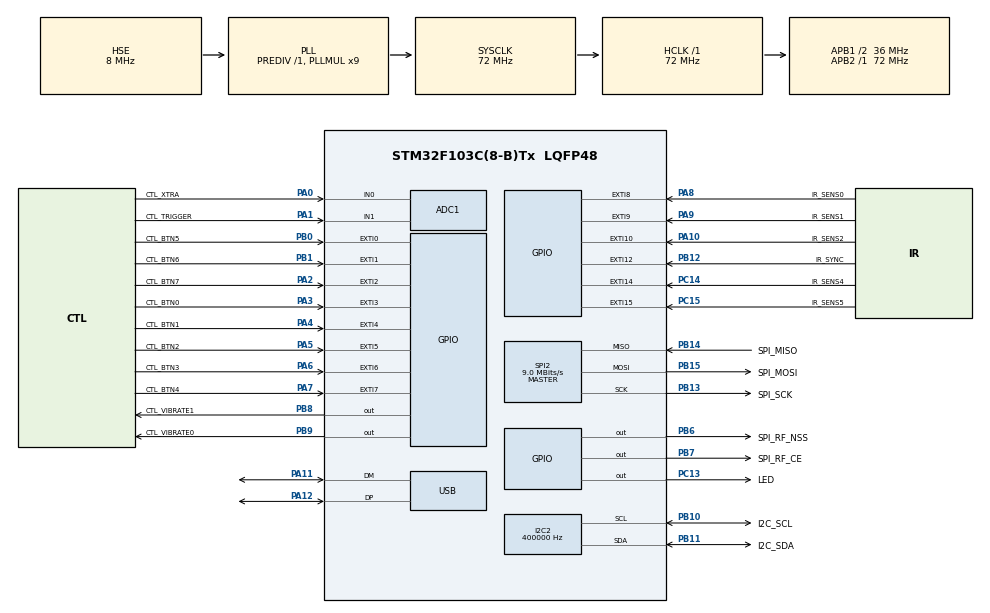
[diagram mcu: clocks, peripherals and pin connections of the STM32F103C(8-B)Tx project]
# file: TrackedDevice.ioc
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ADC1.Channel-11\#ChannelRegularConversion=ADC_CHANNEL_0
ADC1.Channel-12\#ChannelRegularConversion=ADC_CHANNEL_1
ADC1.ContinuousConvMode=ENABLE
ADC1.DataAlign=ADC_DATAALIGN_RIGHT
ADC1.DiscontinuousConvMode=DISABLE
ADC1.EnableAnalogWatchDog=false
ADC1.EnableRegularConversion=ENABLE
ADC1.ExternalTrigConv=ADC_EXTERNALTRIGCONV_T1_CC1
ADC1.InjNumberOfConversion=0
ADC1.NbrOfConversion=2
ADC1.NbrOfConversionFlag=1
ADC1.Rank-11\#ChannelRegularConversion=1
ADC1.Rank-12\#ChannelRegularConversion=2
ADC1.SamplingTime-11\#ChannelRegularConversion=ADC_SAMPLETIME_71CYCLES_5
ADC1.SamplingTime-12\#ChannelRegularConversion=ADC_SAMPLETIME_71CYCLES_5
ADC1.ScanConvMode=ADC_SCAN_ENABLE
ADC1.master=1
Dma.ADC1.0.Direction=DMA_PERIPH_TO_MEMORY
Dma.ADC1.0.Instance=DMA1_Channel1
Dma.ADC1.0.MemDataAlignment=DMA_MDATAALIGN_WORD
Dma.ADC1.0.MemInc=DMA_MINC_ENABLE
Dma.ADC1.0.Mode=DMA_CIRCULAR
Dma.ADC1.0.PeriphDataAlignment=DMA_PDATAALIGN_WORD
Dma.ADC1.0.PeriphInc=DMA_PINC_DISABLE
Dma.ADC1.0.Priority=DMA_PRIORITY_LOW
Dma.Request0=ADC1
I2C2.ClockSpeed=400000
I2C2.GeneralCallMode=I2C_GENERALCALL_DISABLE
I2C2.I2C_Mode=I2C_Fast
I2C2.NoStretchMode=I2C_NOSTRETCH_DISABLE
Mcu.Family=STM32F1
Mcu.Name=STM32F103C(8-B)Tx
Mcu.Package=LQFP48
NVIC.DMA1_Channel1_IRQn=true\:0\:0\:false\:false\:true
NVIC.EXTI0_IRQn=true\:0\:0\:false\:false\:true
NVIC.EXTI15_10_IRQn=true\:0\:0\:false\:false\:true
NVIC.EXTI1_IRQn=true\:0\:0\:false\:false\:true
NVIC.EXTI2_IRQn=true\:0\:0\:false\:false\:true
NVIC.EXTI3_IRQn=true\:0\:0\:false\:false\:true
NVIC.EXTI4_IRQn=true\:0\:0\:false\:false\:true
NVIC.EXTI9_5_IRQn=true\:0\:0\:true\:false\:true
NVIC.PriorityGroup=NVIC_PRIORITYGROUP_4
NVIC.USB_LP_CAN1_RX0_IRQn=true\:0\:0\:false\:false\:true
PA0-WKUP.GPIO_Label=CTL_XTRA
PA0-WKUP.Signal=ADCx_IN0
PA1.GPIO_Label=CTL_TRIGGER
PA1.Signal=ADCx_IN1
PA10.GPIO_Label=IR_SENS2
PA10.GPIO_ModeDefaultEXTI=GPIO_MODE_IT_RISING_FALLING
PA10.GPIO_PuPd=GPIO_PULLUP
PA10.Signal=GPXTI10
PA11.Mode=Device
PA11.Signal=USB_DM
PA12.Mode=Device
PA12.Signal=USB_DP
PA2.GPIO_Label=CTL_BTN7
PA2.GPIO_ModeDefaultEXTI=GPIO_MODE_IT_RISING_FALLING
PA2.GPIO_PuPd=GPIO_PULLDOWN
PA2.Signal=GPXTI2
PA3.GPIO_Label=CTL_BTN0
PA3.GPIO_ModeDefaultEXTI=GPIO_MODE_IT_RISING_FALLING
PA3.GPIO_PuPd=GPIO_PULLDOWN
PA3.Signal=GPXTI3
PA4.GPIO_Label=CTL_BTN1
PA4.GPIO_ModeDefaultEXTI=GPIO_MODE_IT_RISING_FALLING
PA4.GPIO_PuPd=GPIO_PULLDOWN
PA4.Signal=GPXTI4
PA5.GPIO_Label=CTL_BTN2
PA5.GPIO_ModeDefaultEXTI=GPIO_MODE_IT_RISING_FALLING
PA5.GPIO_PuPd=GPIO_PULLDOWN
PA5.Signal=GPXTI5
PA6.GPIO_Label=CTL_BTN3
PA6.GPIO_ModeDefaultEXTI=GPIO_MODE_IT_RISING_FALLING
PA6.GPIO_PuPd=GPIO_PULLDOWN
PA6.Signal=GPXTI6
PA7.GPIO_Label=CTL_BTN4
PA7.GPIO_ModeDefaultEXTI=GPIO_MODE_IT_RISING_FALLING
PA7.GPIO_PuPd=GPIO_PULLDOWN
PA7.Signal=GPXTI7
PA8.GPIO_Label=IR_SENS0
PA8.GPIO_ModeDefaultEXTI=GPIO_MODE_IT_RISING_FALLING
PA8.GPIO_PuPd=GPIO_PULLUP
PA8.Signal=GPXTI8
PA9.GPIO_Label=IR_SENS1
PA9.GPIO_ModeDefaultEXTI=GPIO_MODE_IT_RISING_FALLING
PA9.GPIO_PuPd=GPIO_PULLUP
PA9.Signal=GPXTI9
PB0.GPIO_Label=CTL_BTN5
PB0.GPIO_ModeDefaultEXTI=GPIO_MODE_IT_RISING_FALLING
PB0.GPIO_PuPd=GPIO_PULLDOWN
PB0.Signal=GPXTI0
PB1.GPIO_Label=CTL_BTN6
PB1.GPIO_ModeDefaultEXTI=GPIO_MODE_IT_RISING_FALLING
PB1.GPIO_PuPd=GPIO_PULLDOWN
PB1.Signal=GPXTI1
PB10.GPIO_Label=I2C_SCL
PB10.GPIO_Mode=GPIO_MODE_AF_OD
PB10.GPIO_Speed=GPIO_SPEED_FREQ_LOW
PB10.Mode=I2C
PB10.Signal=I2C2_SCL
PB11.GPIO_Label=I2C_SDA
PB11.GPIO_Speed=GPIO_SPEED_FREQ_LOW
PB11.Mode=I2C
PB11.Signal=I2C2_SDA
PB12.GPIO_Label=IR_SYNC
PB12.GPIO_ModeDefaultEXTI=GPIO_MODE_IT_RISING_FALLING
PB12.GPIO_PuPd=GPIO_PULLUP
PB12.Signal=GPXTI12
PB13.GPIO_Label=SPI_SCK
PB13.GPIO_Speed=GPIO_SPEED_FREQ_LOW
PB13.Mode=Full_Duplex_Master
PB13.Signal=SPI2_SCK
PB14.GPIO_Label=SPI_MISO
PB14.Mode=Full_Duplex_Master
PB14.Signal=SPI2_MISO
PB15.GPIO_Label=SPI_MOSI
PB15.GPIO_Speed=GPIO_SPEED_FREQ_LOW
PB15.Mode=Full_Duplex_Master
PB15.Signal=SPI2_MOSI
PB6.GPIO_Label=SPI_RF_NSS
PB6.GPIO_ModeDefaultOutputPP=GPIO_MODE_OUTPUT_PP
PB6.GPIO_Speed=GPIO_SPEED_FREQ_LOW
PB6.PinState=GPIO_PIN_SET
PB6.Signal=GPIO_Output
PB7.GPIO_Label=SPI_RF_CE
PB7.GPIO_Speed=GPIO_SPEED_FREQ_LOW
PB7.PinState=GPIO_PIN_SET
PB7.Signal=GPIO_Output
PB8.GPIO_Label=CTL_VIBRATE1
PB8.Signal=GPIO_Output
PB9.GPIO_Label=CTL_VIBRATE0
PB9.Signal=GPIO_Output
PC13-TAMPER-RTC.GPIO_Label=LED
PC13-TAMPER-RTC.GPIO_ModeDefaultOutputPP=GPIO_MODE_OUTPUT_OD
PC13-TAMPER-RTC.GPIO_Speed=GPIO_SPEED_FREQ_LOW
PC13-TAMPER-RTC.PinState=GPIO_PIN_RESET
PC13-TAMPER-RTC.Signal=GPIO_Output
PC14-OSC32_IN.GPIO_Label=IR_SENS4
PC14-OSC32_IN.GPIO_ModeDefaultEXTI=GPIO_MODE_IT_RISING_FALLING
PC14-OSC32_IN.GPIO_PuPd=GPIO_PULLUP
PC14-OSC32_IN.Signal=GPXTI14
PC15-OSC32_OUT.GPIO_Label=IR_SENS5
PC15-OSC32_OUT.GPIO_ModeDefaultEXTI=GPIO_MODE_IT_RISING_FALLING
PC15-OSC32_OUT.GPIO_PuPd=GPIO_PULLUP
PC15-OSC32_OUT.Signal=GPXTI15
PD0-OSC_IN.Mode=HSE-External-Oscillator
PD0-OSC_IN.Signal=RCC_OSC_IN
PD1-OSC_OUT.Mode=HSE-External-Oscillator
PD1-OSC_OUT.Signal=RCC_OSC_OUT
ProjectManager.HeapSize=0x200
ProjectManager.StackSize=0x400
ProjectManager.TargetToolchain=MDK-ARM V5
RCC.ADCPresc=RCC_ADCPCLK2_DIV6
RCC.AHBFreq_Value=72000000
RCC.APB1CLKDivider=RCC_HCLK_DIV2
RCC.APB1Freq_Value=36000000
RCC.APB1TimFreq_Value=72000000
RCC.APB2Freq_Value=72000000
RCC.APB2TimFreq_Value=72000000
RCC.HCLKFreq_Value=72000000
RCC.PLLMUL=RCC_PLL_MUL9
RCC.PLLSourceVirtual=RCC_PLLSOURCE_HSE
RCC.PREFETCH_ENABLE=1
RCC.SYSCLKFreq_VALUE=72000000
RCC.SYSCLKSource=RCC_SYSCLKSOURCE_PLLCLK
RCC.USBFreq_Value=48000000
RCC.USBPrescaler=RCC_USBCLKSOURCE_PLL_DIV1_5
RCC.VDD_VALUE=3.3
SH.ADCx_IN0.0=ADC1_IN0,IN0
SH.ADCx_IN1.0=ADC1_IN1,IN1
SPI2.BaudRatePrescaler=SPI_BAUDRATEPRESCALER_4
SPI2.CalculateBaudRate=9.0 MBits/s
SPI2.Direction=SPI_DIRECTION_2LINES
SPI2.Mode=SPI_MODE_MASTER
SPI2.VirtualType=VM_MASTER
USB.ep0_mps=DEP0CTL_MPS_32
USB_DEVICE.CLASS_NAME_FS=CUSTOMHID
USB_DEVICE.CONFIGURATION_STRING_CUSTOMHID_FS=Custom HMD HID Config
USB_DEVICE.INTERFACE_STRING_CUSTOMHID_FS=Custom HMD HID Interface
USB_DEVICE.MANUFACTURER_STRING-CUSTOM_HID_FS=Coltu
USB_DEVICE.PID_CUSTOMHID_FS=0x0001
USB_DEVICE.PRODUCT_STRING_CUSTOMHID_FS=Custom HMD
USB_DEVICE.SERIALNUMBER_STRING_CUSTOMHID_FS=20170125-B
USB_DEVICE.USBD_CUSTOMHID_OUTREPORT_BUF_SIZE-CUSTOM_HID_FS=32
USB_DEVICE.USBD_CUSTOM_HID_REPORT_DESC_SIZE-CUSTOM_HID_FS=34
USB_DEVICE.VID-CUSTOM_HID_FS=0x1974
USB_DEVICE.VirtualMode=CustomHid
USB_DEVICE.VirtualModeFS=Custom_Hid_FS
VP_SYS_VS_ND.Mode=No_Debug
VP_USB_DEVICE_VS_USB_DEVICE_CUSTOM_HID_FS.Mode=CUSTOM_HID_FS
board=TrackedDevice

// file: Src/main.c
/**
  ******************************************************************************
  * File Name          : main.c
  * Description        : Main program body
  ******************************************************************************
  *
  * Copyright (c) 2017 STMicroelectronics International N.V.
  * All rights reserved.
  *
  * Redistribution and use in source and binary forms, with or without
  * modification, are permitted, provided that the following conditions are met:
  *
  * 1. Redistribution of source code must retain the above copyright notice,
  *    this list of conditions and the following disclaimer.
  * 2. Redistributions in binary form must reproduce the above copyright notice,
  *    this list of conditions and the following disclaimer in the documentation
  *    and/or other materials provided with the distribution.
  * 3. Neither the name of STMicroelectronics nor the names of other
  *    contributors to this software may be used to endorse or promote products
  *    derived from this software without specific written permission.
  * 4. This software, including modifications and/or derivative works of this
  *    software, must execute solely and exclusively on microcontroller or
  *    microprocessor devices manufactured by or for STMicroelectronics.
  * 5. Redistribution and use of this software other than as permitted under
  *    this license is void and will automatically terminate your rights under
  *    this license.
  *
  * THIS SOFTWARE IS PROVIDED BY STMICROELECTRONICS AND CONTRIBUTORS "AS IS"
  * AND ANY EXPRESS, IMPLIED OR STATUTORY WARRANTIES, INCLUDING, BUT NOT
  * LIMITED TO, THE IMPLIED WARRANTIES OF MERCHANTABILITY, FITNESS FOR A
  * PARTICULAR PURPOSE AND NON-INFRINGEMENT OF THIRD PARTY INTELLECTUAL PROPERTY
  * RIGHTS ARE DISCLAIMED TO THE FULLEST EXTENT PERMITTED BY LAW. IN NO EVENT
  * SHALL STMICROELECTRONICS OR CONTRIBUTORS BE LIABLE FOR ANY DIRECT, INDIRECT,
  * INCIDENTAL, SPECIAL, EXEMPLARY, OR CONSEQUENTIAL DAMAGES (INCLUDING, BUT NOT
  * LIMITED TO, PROCUREMENT OF SUBSTITUTE GOODS OR SERVICES; LOSS OF USE, DATA,
  * OR PROFITS; OR BUSINESS INTERRUPTION) HOWEVER CAUSED AND ON ANY THEORY OF
  * LIABILITY, WHETHER IN CONTRACT, STRICT LIABILITY, OR TORT (INCLUDING
  * NEGLIGENCE OR OTHERWISE) ARISING IN ANY WAY OUT OF THE USE OF THIS SOFTWARE,
  * EVEN IF ADVISED OF THE POSSIBILITY OF SUCH DAMAGE.
  *
  ******************************************************************************
  */
#include "main.h"
#include "stm32f1xx_hal.h"
#include "usb_device.h"

/* USER CODE BEGIN Includes */
#undef UNUSED
#define UNUSED(x) ;

#include <stdlib.h>
#include <string.h> //for memcpy and memcmp

#include "..\\..\\Common\\led.h"
#include "..\\..\\Common\\SensorFusion.h"
#include "..\\..\\Common\\gy8x.h"
#include "..\\..\\Common\\nrf24l01.h"
#include "usbd_custom_hid_if.h"
#include "..\\..\\Common\\usb.h"
#include "..\\..\\Common\\eeprom_flash.h"

#if CUSTOM_HID_EPOUT_SIZE != 32
#error HID out packet size not 32
//#end
#elif CUSTOM_HID_EPIN_SIZE != 32
#error HID packet in size not 32
//#end
#elif USB_CUSTOM_HID_DESC_SIZ != 34
#error HID packet size not 34
//#end
#endif

#define THIS_DEVICE (HMD_SOURCE)
//#define THIS_DEVICE LEFTCTL_SOURCE
//#define THIS_DEVICE RIGHTCTL_SOURCE
#define IS_CONTROLLER (THIS_DEVICE == LEFTCTL_SOURCE || THIS_DEVICE == RIGHTCTL_SOURCE)
#define IS_HMD (THIS_DEVICE == HMD_SOURCE)
/* USER CODE END Includes */

ADC_HandleTypeDef hadc1;
DMA_HandleTypeDef hdma_adc1;

I2C_HandleTypeDef hi2c2;

SPI_HandleTypeDef hspi2;

/* USER CODE BEGIN PV */
/* Private variables ---------------------------------------------------------*/

enum RawModes
{
	RawMode_Off = 0,
	RawMode_Raw = 1,
	RawMode_Filtered = 2,
	RawMode_Compensated = 3,
	RawMode_DRVectors = 4
};

#if IS_HMD
struct CommChannel
{
	uint8_t remainingTransmits;
	uint32_t lastReceive;
	uint32_t nextTransmit;
	uint16_t lastInSequence;
	uint16_t lastOutSequence;
	USBPacket lastCommand;
};

struct CommChannel Channels[MAX_SOURCE] = { 0 };
uint16_t ChannelStateFlags = 0;
#endif //IS_HMD

SensorData tSensorData;
int32_t blinkDelay = 1000;
extern uint8_t USB_RX_Buffer[CUSTOM_HID_EPIN_SIZE];
extern USBD_HandleTypeDef hUsbDeviceFS;
USBPacket *pFromUSBPacket = (USBPacket *)USB_RX_Buffer;
USBPacket FromDevicePacket = { 0 };
USBPacket FromRFPacket = { 0 };
USBPositionData position = { 0 };

uint8_t rfStatus = 0;
bool sensorStatus = false;
RawModes feedRawMode = RawMode_Off;
uint8_t readyToSend = 0;
uint8_t readyToReceive = 0;
Quaternion orientQuat;
Quaternion gravQuat;
Quaternion positionQuat;
//Quaternion gravQuat(0, 0, 0, 1);
//RF_ReceiveMode(&hspi2, NULL); //default to receive mode
uint32_t lastCommandSequence = 0;

#if IS_CONTROLLER
uint32_t vibrationStopTime0 = 0;
uint32_t vibrationStopTime1 = 0;
uint32_t LastADCChange = 0;
uint32_t ADC_Values[4] = { 0 };
float ADC_Value[2] = { 0 };
uint32_t ADC_Cache[2] = { 0 };
#endif //_IS_CONTROLLER

uint64_t lastButtonRefresh = 0;
volatile uint32_t LastDigitalChange = 0;
uint16_t DigitalValues = 0;
uint16_t DigitalCache = 0;

#ifdef IS_HMD
int32_t KnobState = 0;
int32_t KnobCount = 0;
uint64_t LastKnobChange = 0;
#endif //IS_HMD

//float AccelVector[3] = {0};
float GravityVector[3] = { 0 };
float CompAccelVector[3] = { 0 };
float VelocityVector[3] = { 0 };
//float ComplimentaryAccelVector[3] = {0};
//float ComplimentaryVelocityVector[3] = {0};

uint64_t lastRotationUpdate = 0;
volatile uint64_t now = 0;
uint32_t ticks = 0;
uint32_t nextSend = 0;

uint32_t sndCounter = 0;
uint32_t rcvCounter = 0;

EepromData eepromData = { 0 };
bool isCalibrated = false;
bool isPositionReady = false;

int extraDelay = 2
#if IS_CONTROLLER
+ 8
#endif //IS_CONTROLLER
;

//processmask flags
#define READY_ROT 0x01
#define READY_BUT 0x02
#define READY_POS 0x04
#define READY_RAW 0x08
#define READY_CAL 0x10
#define READY_IPD 0x20

uint8_t ReadyMask = 0;
uint8_t ProcessMask = 0;

uint32_t LastUsbTransmit = 0;

bool hasRotationData = false;
bool hasPositionData = false;
uint8_t buttonRetransmit = 0;

//KalmanSingle AccelFilter[3] = {
//KalmanSingle(0.125,32,1,0),
//KalmanSingle(0.125,32,1,0),
//KalmanSingle(0.125,32,1,0)
//};

uint8_t SensorCalibRequest = 0xFF;
uint32_t eepromSaveTime = 0;

uint32_t buttonRefreshTimeout = 1000;
CSensorFusion orientFuse(0.2f);
CSensorFusion gravFuse(1.0f);

#ifdef __cplusplus
extern "C" {
#endif
/* USER CODE END PV */

void SystemClock_Config(void);
void Error_Handler(void);
static void MX_GPIO_Init(void);
static void MX_DMA_Init(void);
static void MX_I2C2_Init(void);
static void MX_SPI2_Init(void);

/* USER CODE BEGIN PFP */
		/* Private function prototypes -----------------------------------------------*/

#ifdef __cplusplus
}
#endif

static void MX_ADC1_Init(void);

RF_InitTypeDef RF_InitStruct = { 0 };
unsigned char NRF24L01_Init(void)
{
	RF_InitStruct.RF_Power_State = RF_Power_On;
	RF_InitStruct.RF_Config = RF_Config_IRQ_RX_Off | RF_Config_IRQ_TX_Off | RF_Confing_IRQ_Max_Rt_Off;
	RF_InitStruct.RF_CRC_Mode = RF_CRC8_On;
	RF_InitStruct.RF_Mode = RF_Mode_RX;
	RF_InitStruct.RF_Pipe_Auto_Ack = 0;
	RF_InitStruct.RF_Enable_Pipe = 1;
	RF_InitStruct.RF_Setup = RF_Setup_5_Byte_Adress;
	RF_InitStruct.RF_TX_Power = RF_TX_Power_High;
	RF_InitStruct.RF_Data_Rate = RF_Data_Rate_2Mbs;
	RF_InitStruct.RF_Channel = 250;

#if IS_HMD
	RF_InitStruct.RF_TX_Adress[0] = 'C';
	RF_InitStruct.RF_TX_Adress[1] = 'T';
	RF_InitStruct.RF_TX_Adress[2] = 'R';
	RF_InitStruct.RF_TX_Adress[3] = 'L';
	RF_InitStruct.RF_TX_Adress[4] = '0';
	RF_InitStruct.RF_RX_Adress_Pipe0[0] = 'B';
	RF_InitStruct.RF_RX_Adress_Pipe0[1] = 'A';
	RF_InitStruct.RF_RX_Adress_Pipe0[2] = 'S';
	RF_InitStruct.RF_RX_Adress_Pipe0[3] = 'E';
	RF_InitStruct.RF_RX_Adress_Pipe0[4] = '1'; //HMD
#endif //IS_HMD

#if IS_CONTROLLER
	RF_InitStruct.RF_TX_Adress[0] = 'B';
	RF_InitStruct.RF_TX_Adress[1] = 'A';
	RF_InitStruct.RF_TX_Adress[2] = 'S';
	RF_InitStruct.RF_TX_Adress[3] = 'E';
	RF_InitStruct.RF_TX_Adress[4] = '1';
	RF_InitStruct.RF_RX_Adress_Pipe0[0] = 'C';
	RF_InitStruct.RF_RX_Adress_Pipe0[1] = 'T';
	RF_InitStruct.RF_RX_Adress_Pipe0[2] = 'R';
	RF_InitStruct.RF_RX_Adress_Pipe0[3] = 'L';
	RF_InitStruct.RF_RX_Adress_Pipe0[4] = '0';
#endif //IS_CONTROLLER

	RF_InitStruct.RF_Payload_Size_Pipe0 = 32;
	RF_InitStruct.RF_Auto_Retransmit_Count = 0;
	RF_InitStruct.RF_Auto_Retransmit_Delay = 0;
	return RF_Init(&hspi2, &RF_InitStruct);
}
/* USER CODE END PFP */

/* USER CODE BEGIN 0 */

uint64_t HAL_GetMicros()
{
	uint64_t ticks = HAL_GetTick();
	uint64_t systick = (uint64_t)SysTick->VAL;
	return (ticks * 1000ull) + 1000ull - (systick / 72ul);
}

void HAL_MicroDelay(uint64_t delay)
{
	uint64_t tickstart = 0;
	tickstart = HAL_GetMicros();
	while ((HAL_GetMicros() - tickstart) < delay) {}
}

inline uint8_t sgn(float n)
{
	return (n < 0 ? -1 : 1);
}

void HAL_GPIO_EXTI_Callback(uint16_t GPIO_Pin)
{
	switch (GPIO_Pin)
	{
	case IR_SENS0_Pin:
		break;
	case IR_SENS1_Pin:
		break;
	case IR_SENS2_Pin:
		break;
		//case IR_SENS3_Pin: temporarily disabled for SWJ-IO
		//	break;
	case IR_SENS4_Pin:
		break;
	case IR_SENS5_Pin:
		break;
#if IS_HMD
		//first 3 pins are for IPD rotary knob if device is HMD
	case CTL_BTN0_Pin: //re-center seated pos
		LastDigitalChange = HAL_GetTick();
		break;
	case CTL_BTN1_Pin: // IPD up
	case CTL_BTN2_Pin: // IPD down
	{
		//read both pins
		LastKnobChange = HAL_GetTick();
		KnobCount++;
		break;
	}
#endif //IS_HMD

#if IS_CONTROLLER
	case CTL_BTN0_Pin:
	case CTL_BTN1_Pin:
	case CTL_BTN2_Pin:
	case CTL_BTN3_Pin:
	case CTL_BTN4_Pin:
	case CTL_BTN5_Pin:
	case CTL_BTN6_Pin:
	case CTL_BTN7_Pin:
		LastDigitalChange = HAL_GetTick();
		break;
#endif //IS_CONTROLLER
	}
}

/*inline*/ void ProcessOwnPacket(USBPacket *pPacket)
{
	if (lastCommandSequence != pPacket->Header.Sequence) //discard duplicates
	{
		lastCommandSequence = pPacket->Header.Sequence;
		switch (pPacket->Command.Command)
		{
		case CMD_RAW_DATA:
			feedRawMode = (RawModes)pPacket->Command.Data.Raw.State;
			break;
		case CMD_VIBRATE:
#if IS_CONTROLLER
			if (pPacket->Command.Data.Vibration.Axis == 0)
			{
				vibrationStopTime0 = ticks + pPacket->Command.Data.Vibration.Duration;
				HAL_GPIO_WritePin(CTL_VIBRATE0_GPIO_Port, CTL_VIBRATE0_Pin, GPIO_PIN_SET);
			}
			else if (pPacket->Command.Data.Vibration.Axis == 1)
			{
				vibrationStopTime1 = ticks + pPacket->Command.Data.Vibration.Duration;
				HAL_GPIO_WritePin(CTL_VIBRATE1_GPIO_Port, CTL_VIBRATE1_Pin, GPIO_PIN_SET);
			}
#endif //IS_CONTROLLER
			break;
		case CMD_CALIBRATE:
			//manually set sensor offsets
			int sensorId = pPacket->Command.Data.Calibration.Sensor;
			if (pPacket->Command.Data.Calibration.Command == CALIB_GET)
			{
				SensorCalibRequest = sensorId;
			}
			else
			{
				for (int i = 0; i < 3; i++)
				{
					position.Position[i] = 0;
					VelocityVector[i] = 0;
					//AccelVector[i] = 0;
					CompAccelVector[i] = 0;
				}
				if (sensorId == SENSOR_NONE)
					break;
				else if (sensorId == SENSOR_ACCEL)
					eepromData.Accel = pPacket->Command.Data.Calibration;
				else if (sensorId == SENSOR_GYRO)
					eepromData.Gyro = pPacket->Command.Data.Calibration;
				else if (sensorId == SENSOR_MAG)
					eepromData.Mag = pPacket->Command.Data.Calibration;
				eepromSaveTime = ticks + 1000; //save after 1 second
			}
			break;
		}
	}
	pPacket->Header.Type = 0xff;
}

#if IS_CONTROLLER
/*inline*/ void ForwardRFPacket(USBPacket *pPacket)
{
	RF_SendPayload(&hspi2, (uint8_t*)pPacket, sizeof(USBPacket));
}
#endif //IS_CONTROLLER

#if IS_HMD
/*inline*/ void ForwardUSBPacket(USBPacket *pPacket)
{
	uint8_t channelIndex = pPacket->Header.Type & 0x0F;
	if (channelIndex < MAX_SOURCE)
	{
		CommChannel *pChannel = &Channels[channelIndex];
		pChannel->lastReceive = ticks;
		//if (channelIndex == HMD_SOURCE)
		//	pChannel->lastInSequence = pPacket->Header.Sequence - 1;
		if (pChannel->lastInSequence != pPacket->Header.Sequence) //skip duplicates for same channel
		{
			blinkDelay = 100;
			pChannel->lastInSequence = pPacket->Header.Sequence;
			USBD_CUSTOM_HID_SendReport_FS((uint8_t*)pPacket, (uint16_t) sizeof(USBPacket)); //forward incoming
			LastUsbTransmit = HAL_GetTick();
		}
		else
			return;
	}
}

/*inline*/ void BroadcastRFPackets()
{
	//send everything in channel buffer without checking sequence
	for (uint8_t channelIndex = 0; channelIndex < MAX_SOURCE; channelIndex++)
	{
		if (!(ChannelStateFlags & (1 << channelIndex)))
			continue; // skip if channel is empty
		CommChannel *pChannel = &Channels[channelIndex];
		if (!pChannel->remainingTransmits)
		{
			// skip if no more to transmit. unlikely to enter here
			memset(&pChannel->lastCommand, 0, sizeof(USBPacket));
			ChannelStateFlags &= ~(1 << channelIndex); //clear flags
			continue;
		}
		if (ticks - pChannel->lastReceive > 10000)
		{
			// skip if timedout. (powered off controller etc)
			memset(&pChannel->lastCommand, 0, sizeof(USBPacket));
			ChannelStateFlags &= ~(1 << channelIndex); //clear flags
			continue;
		}

		if (!readyToSend)
		{
			rfStatus = RF_FifoStatus(&hspi2);
			readyToSend = ((rfStatus & RF_TX_FIFO_EMPTY_Bit) == RF_TX_FIFO_EMPTY_Bit); //if empty
		}
		if (readyToSend && (pChannel->remainingTransmits > 0) && (ticks > pChannel->nextTransmit))
		{
			readyToSend = false;
			pChannel->nextTransmit = HAL_GetTick() + (rand() % 10); //max 10 ms for retransmit
			//switch to tx mode and send command to device
			RF_TransmitMode(&hspi2, RF_InitStruct.RF_TX_Adress);
			RF_SendPayload(&hspi2, (uint8_t *)&pChannel->lastCommand, sizeof(USBPacket));
			do { rfStatus = RF_FifoStatus(&hspi2); } while ((rfStatus & RF_TX_FIFO_EMPTY_Bit) != RF_TX_FIFO_EMPTY_Bit); //wait for send complete
			pChannel->remainingTransmits--;
			if (!pChannel->remainingTransmits)
			{
				memset(&pChannel->lastCommand, 0, sizeof(USBPacket));
				ChannelStateFlags &= ~(1 << channelIndex); //clear flags
			}
			RF_ReceiveMode(&hspi2, RF_InitStruct.RF_RX_Adress_Pipe0);
			break; //send single packet only
		}
	}
}
#endif //IS_HMD

/*inline*/ void ForwardPacket(USBPacket *pPacket)
{
#if IS_HMD
	ForwardUSBPacket(pPacket);
#endif //IS_HMD
#if IS_CONTROLLER
	ForwardRFPacket(pPacket);
#endif //IS_CONTROLLER
}

/*inline*/ void ProcessSensors()
{
	float elapsedTime = (now - lastRotationUpdate) / 1000000.0f; // set integration time by time elapsed since last filter update

	if (elapsedTime >= 0.005f) //update at 200hz
	{
		hasRotationData |= readAccelData(tSensorData.Accel.Raw);  // Read the x/y/z adc values
		hasRotationData |= readGyroData(tSensorData.Gyro.Raw);
		hasRotationData |= readMagData(tSensorData.Mag.Raw);

		if (hasRotationData) // recalc position if still has position data to be sent
		{
			ReadyMask |= READY_ROT;
			tSensorData.Accel.ProcessNew();
			tSensorData.Gyro.ProcessNew();
			tSensorData.Mag.ProcessNew();

			tSensorData.TimeElapsed = elapsedTime;
			lastRotationUpdate = now;
			orientQuat = orientFuse.FuseOrient(&tSensorData);

			//gravQuat = orientQuat;
//				gravQuat.w = 0; gravQuat.x = 0; gravQuat.y = 0; gravQuat.z = 0;
//				gravQuat = (orientQuat * gravQuat) * orientQuat.conjugate();

			if (isPositionReady && (hasPositionData || (isCalibrated && (ticks >= 10000))))
			{
				//float elapsedPositionTime = (float)(now - lastPositionIntegrateTime) / 1000000.0f;
				//if (elapsedPositionTime >= 0.001f) // integrate every 2 ms
				{
					GravityVector[0] = 2.0f * (orientQuat.x * orientQuat.z - orientQuat.w * orientQuat.y);
					GravityVector[1] = 2.0f * (orientQuat.w * orientQuat.x + orientQuat.y * orientQuat.z);
					GravityVector[2] = orientQuat.w * orientQuat.w - orientQuat.x * orientQuat.x - orientQuat.y * orientQuat.y + orientQuat.z * orientQuat.z;

					for (int i = 0; i < 3; i++)
					{
						float prevAccel = CompAccelVector[i];
						float prevVelocity = VelocityVector[i];
						float newAccel = tSensorData.Accel.Converted[i] - GravityVector[i];
						float newVelocity = ((prevAccel + newAccel) / 2.0f) * 9.81f * elapsedTime;
						float prevPosition = position.Position[i];

						//if velocity changes direction hold for a moment
//							if (sgn(prevVelocity) != sgn(newVelocity))
//							{
//								newVelocity = prevVelocity = 0;
//								//newAccel = 0;
//							}

						position.Position[i] = prevPosition + ((prevVelocity + newVelocity) / 2.0f) * elapsedTime * 10.0f;
						CompAccelVector[i] = newAccel;
						VelocityVector[i] = prevVelocity + newVelocity;
					}

					//if (now - lastPositionSend >= 20000) //50 ms
					{
						positionQuat.w = 0;
						positionQuat.x = position.Position[0];
						positionQuat.y = position.Position[1];
						positionQuat.z = position.Position[2];

						positionQuat = (orientQuat * positionQuat) * orientQuat.conjugate();

						hasPositionData = true;
						ReadyMask |= READY_POS;
						//lastPositionSend = now;
					}

					//lastPositionIntegrateTime = now;
				}
			}
			//else
			//	lastPositionIntegrateTime = now;
		}
	}
}

#if IS_CONTROLLER
/*inline*/ void ProcessADC()
{
	if (ticks - LastADCChange >= 50) //20 analog values per second
	{
		uint8_t changed = 0;
		LastADCChange = ticks;
		ADC_Value[0] = (((float)(ADC_Values[0] + ADC_Values[2]) / 2.0f) * 0.5f) + (ADC_Value[0] * 0.5f);
		ADC_Value[1] = (((float)(ADC_Values[1] + ADC_Values[3]) / 2.0f) * 0.5f) + (ADC_Value[1] * 0.5f);

		uint32_t value0 = ((uint32_t)(ADC_Value[0] / 40.96f));
		uint32_t value1 = ((uint32_t)(ADC_Value[1] / 40.96f));

		if (ADC_Cache[0] != value0) { changed = 1; ADC_Cache[0] = value0; }
		if (ADC_Cache[1] != value1) { changed = 1; ADC_Cache[1] = value1; }
		if (changed)
		{
			//if any analog value has changes
			buttonRetransmit = 5;
			lastButtonRefresh = ticks;
		}
	}
}
#endif //IS_CONTROLLER

/*inline*/ void CalibrateSensors(void)
{
	for (int i = 0; i < 3; i++)
	{
		if (eepromData.Accel.Sensor == SENSOR_ACCEL)
		{
			tSensorData.Accel.Offset[i] = (float)(eepromData.Accel.RawMax[i] + eepromData.Accel.RawMin[i]) / 2.0f;
			//tSensorData.Accel.PosScale[i] = eepromData.Accel.RawMax[i] == 0? 1.0f : (1.0f / aRes) / (float)(eepromData.Accel.RawMax[i] - tSensorData.Accel.Offset[i]);
			//tSensorData.Accel.NegScale[i] = eepromData.Accel.RawMin[i] == 0? 1.0f : (1.0f / aRes) / (float)(eepromData.Accel.RawMin[i] - tSensorData.Accel.Offset[i]);
		}
		if (eepromData.Gyro.Sensor == SENSOR_GYRO)
		{
			tSensorData.Gyro.Offset[i] = (float)(eepromData.Gyro.RawMax[i]);
			tSensorData.Gyro.PosScale[i] = 1.0f;
			tSensorData.Gyro.NegScale[i] = 1.0f;
		}
		if (eepromData.Mag.Sensor == SENSOR_MAG)
		{
			tSensorData.Mag.Offset[i] = (float)(eepromData.Mag.RawMax[i] + eepromData.Mag.RawMin[i]) / 2.0f;
			//tSensorData.Mag.PosScale[i] = eepromData.Mag.RawMax[i] == 0? 1.0f : (1.0f / mRes) / (float)(eepromData.Mag.RawMax[i] - tSensorData.Mag.Offset[i]);
			//tSensorData.Mag.NegScale[i] = eepromData.Mag.RawMin[i] == 0? 1.0f : (1.0f / mRes) / (float)(eepromData.Mag.RawMin[i] - tSensorData.Mag.Offset[i]);
		}
	}
	isCalibrated = true;
}

/*inline*/ void ResetSensorCalibration()
{
	memset(&eepromData, 0, sizeof(eepromData));
	tSensorData.ResetCalibration();
	isCalibrated = false;
}

/* USER CODE END 0 */

int main(void)
{

  /* MCU Configuration----------------------------------------------------------*/

  /* Reset of all peripherals, Initializes the Flash interface and the Systick. */
  HAL_Init();

  /* Configure the system clock */
  SystemClock_Config();

  /* Initialize all configured peripherals */
  MX_GPIO_Init();
  MX_DMA_Init();
  MX_I2C2_Init();
  MX_SPI2_Init();

  /* USER CODE BEGIN 2 */

#if IS_HMD

  /* USB CUSTOM_HID device Configuration Descriptor */
	__ALIGN_BEGIN static uint8_t myDesc[USB_CUSTOM_HID_CONFIG_DESC_SIZ] __ALIGN_END =
	{
		0x09, /* bLength: Configuration Descriptor size */
		USB_DESC_TYPE_CONFIGURATION, /* bDescriptorType: Configuration */
		USB_CUSTOM_HID_CONFIG_DESC_SIZ,
		/* wTotalLength: Bytes returned */
		0x00,
		0x01,         /*bNumInterfaces: 1 interface*/
		0x01,         /*bConfigurationValue: Configuration value*/
		0x00,         /*iConfiguration: Index of string descriptor describing
			the configuration*/
		0xC0,         /*bmAttributes: bus powered */
		0x32,         /*MaxPower 100 mA: this current is used for detecting Vbus*/

		/************** Descriptor of CUSTOM HID interface ****************/
		/* 09 */
		0x09,         /*bLength: Interface Descriptor size*/
		USB_DESC_TYPE_INTERFACE,/*bDescriptorType: Interface descriptor type*/
		0x00,         /*bInterfaceNumber: Number of Interface*/
		0x00,         /*bAlternateSetting: Alternate setting*/
		0x02,         /*bNumEndpoints*/
		0x03,         /*bInterfaceClass: CUSTOM_HID*/
		0x00,         /*bInterfaceSubClass : 1=BOOT, 0=no boot*/
		0x00,         /*nInterfaceProtocol : 0=none, 1=keyboard, 2=mouse*/
		0,            /*iInterface: Index of string descriptor*/
		/******************** Descriptor of CUSTOM_HID *************************/
		/* 18 */
		0x09,         /*bLength: CUSTOM_HID Descriptor size*/
		CUSTOM_HID_DESCRIPTOR_TYPE, /*bDescriptorType: CUSTOM_HID*/
		0x11,         /*bCUSTOM_HIDUSTOM_HID: CUSTOM_HID Class Spec release number*/
		0x01,
		0x00,         /*bCountryCode: Hardware target country*/
		0x01,         /*bNumDescriptors: Number of CUSTOM_HID class descriptors to follow*/
		0x22,         /*bDescriptorType*/
		USBD_CUSTOM_HID_REPORT_DESC_SIZE,/*wItemLength: Total length of Report descriptor*/
		0x00,
		/******************** Descriptor of Custom HID endpoints ********************/
		/* 27 */
		0x07,          /*bLength: Endpoint Descriptor size*/
		USB_DESC_TYPE_ENDPOINT, /*bDescriptorType:*/

		CUSTOM_HID_EPIN_ADDR,     /*bEndpointAddress: Endpoint Address (IN)*/
		0x03,          /*bmAttributes: Interrupt endpoint*/
		CUSTOM_HID_EPIN_SIZE, /*wMaxPacketSize: 2 Byte max */
		0x00,
		0x01,          /*bInterval: Polling Interval (20 ms)*/
		/* 34 */

		0x07,	         /* bLength: Endpoint Descriptor size */
		USB_DESC_TYPE_ENDPOINT,	/* bDescriptorType: */
		CUSTOM_HID_EPOUT_ADDR,  /*bEndpointAddress: Endpoint Address (OUT)*/
		0x03,	/* bmAttributes: Interrupt endpoint */
		CUSTOM_HID_EPOUT_SIZE,	/* wMaxPacketSize: 2 Bytes max  */
		0x00,
		0x01,	/* bInterval: Polling Interval (20 ms) */
		/* 41 */
	};

	uint16_t usbDescLen = 0;
	uint8_t *usbDesc = USBD_CUSTOM_HID.GetFSConfigDescriptor(&usbDescLen);
	memcpy(usbDesc, myDesc, usbDescLen);
	//*usbDesc = *myDesc;
	MX_USB_DEVICE_Init();
#endif //IS_HMD

#if IS_CONTROLLER
	MX_ADC1_Init();
#endif //IS_CONTROLLER

	DigitalValues = DigitalCache = 0;
	LedOff();

	srand(THIS_DEVICE + HAL_GetTick());

	//load eeprom calibration data
	char *eepromBytes = (char *)&eepromData;
	int addr = 0;
	for (int i = 0; i < sizeof(eepromData); i += sizeof(uint32_t))
	{
		*((uint32_t *)(&eepromBytes[i])) = readEEPROMWord(addr);
		addr += sizeof(uint32_t);
	}

	if (eepromData.Magic == VALID_EEPROM_MAGIC)
		CalibrateSensors();
	else
		ResetSensorCalibration();

#if IS_CONTROLLER
	HAL_GPIO_WritePin(CTL_VIBRATE0_GPIO_Port, CTL_VIBRATE0_Pin, GPIO_PIN_SET);
	BlinkRease(30);
	HAL_GPIO_WritePin(CTL_VIBRATE0_GPIO_Port, CTL_VIBRATE0_Pin, GPIO_PIN_RESET);
	HAL_Delay(250);
#endif //IS_CONTROLLER

	rfStatus = NRF24L01_Init();
	if (rfStatus == 0x00 || rfStatus == 0xff)
		Error_Handler();
	LedOff();

	sensorStatus = initSensors();
	if (!sensorStatus)
		Error_Handler();
	LedOff();

#if IS_CONTROLLER
	buttonRefreshTimeout = 250;
	HAL_GPIO_WritePin(CTL_VIBRATE0_GPIO_Port, CTL_VIBRATE0_Pin, GPIO_PIN_SET);
	BlinkRease(20);
	HAL_GPIO_WritePin(CTL_VIBRATE0_GPIO_Port, CTL_VIBRATE0_Pin, GPIO_PIN_RESET);
	HAL_Delay(100);

	//start background adc conversion
	if (HAL_ADC_Start(&hadc1) != HAL_OK)
		Error_Handler();
	if (HAL_ADC_Start_DMA(&hadc1, (uint32_t*)ADC_Values, 4) != HAL_OK)
		Error_Handler();
	HAL_Delay(100);
#endif //IS_CONTROLLER

	tSensorData.Setup(aRes, gRes, mRes);

	//do some warmup
	for (int i = 0; i < 100; i++)
	{
		readAccelData(tSensorData.Accel.Raw);  // Read the x/y/z adc values
		tSensorData.Accel.ProcessNew();
		HAL_Delay(1);
		readGyroData(tSensorData.Gyro.Raw);
		tSensorData.Gyro.ProcessNew();
		HAL_Delay(1);
		readMagData(tSensorData.Mag.Raw);
		tSensorData.Mag.ProcessNew();
		HAL_Delay(10);
	}

  /* USER CODE END 2 */

  /* Infinite loop */
  /* USER CODE BEGIN WHILE */

	while (true)
	{
		Blink(blinkDelay);
		blinkDelay = 1000;

		now = HAL_GetMicros();
		ticks = HAL_GetTick(); //now / 1000;

		if (eepromSaveTime && (ticks >= eepromSaveTime))
		{
			CalibrateSensors();
			eepromData.Magic = VALID_EEPROM_MAGIC;
			enableEEPROMWriting();
			char *eepromBytes = (char *)&eepromData;
			int addr = 0;
			for (int i = 0; i < sizeof(eepromData); i += sizeof(uint32_t))
			{
				writeEEPROMWord(addr, *((uint32_t *)(&eepromBytes[i])));
				addr += sizeof(uint32_t);
			}
			disableEEPROMWriting();
			eepromSaveTime = 0;
		}

#if IS_CONTROLLER
		if (vibrationStopTime0 && (ticks > vibrationStopTime0))
		{
			HAL_GPIO_WritePin(CTL_VIBRATE0_GPIO_Port, CTL_VIBRATE0_Pin, GPIO_PIN_RESET);
			vibrationStopTime0 = 0;
		}

		if (vibrationStopTime1 && (ticks > vibrationStopTime1))
		{
			HAL_GPIO_WritePin(CTL_VIBRATE1_GPIO_Port, CTL_VIBRATE1_Pin, GPIO_PIN_RESET);
			vibrationStopTime1 = 0;
		}
		ProcessADC();
#endif //IS_CONTROLLER

#if IS_HMD
		if (LastKnobChange && (ticks - LastKnobChange >= 2)) //using sw debounce 2 ms
		{
			LastKnobChange = 0;
			uint8_t btnUp = HAL_GPIO_ReadPin(CTL_BTN1_GPIO_Port, CTL_BTN1_Pin) == GPIO_PIN_SET ? 1 : 0;
			uint8_t btnDown = HAL_GPIO_ReadPin(CTL_BTN2_GPIO_Port, CTL_BTN2_Pin) == GPIO_PIN_SET ? 1 : 0;
			if (btnUp && !btnDown)
			{
				//up
				if (KnobState < 0) KnobState = 0;
				KnobState += KnobCount / 4;
				if (KnobState == 0) KnobState = 1;
				//KnobCache &= ~BUTTON_2;
			}
			else if (!btnUp && btnDown)
			{
				//down
				//KnobCache &= ~BUTTON_1;
				if (KnobState > 0) KnobState = 0;
				KnobState -= KnobCount / 4;
				if (KnobState == 0) KnobState = -1;
			}
			KnobCount = 0;
		}
#endif //IS_HMD

		if (LastDigitalChange && (ticks - LastDigitalChange >= 25)) //using sw debounce 25ms (appx. 40 cps)
		{
			LastDigitalChange = 0;
			DigitalValues = 0;
			if (HAL_GPIO_ReadPin(CTL_BTN0_GPIO_Port, CTL_BTN0_Pin) == GPIO_PIN_SET) DigitalValues |= BUTTON_0;
#if IS_CONTROLLER
			if (HAL_GPIO_ReadPin(CTL_BTN1_GPIO_Port, CTL_BTN1_Pin) == GPIO_PIN_SET) DigitalValues |= BUTTON_1;
			if (HAL_GPIO_ReadPin(CTL_BTN2_GPIO_Port, CTL_BTN2_Pin) == GPIO_PIN_SET) DigitalValues |= BUTTON_2;
			if (HAL_GPIO_ReadPin(CTL_BTN3_GPIO_Port, CTL_BTN3_Pin) == GPIO_PIN_SET) DigitalValues |= BUTTON_3;
			if (HAL_GPIO_ReadPin(CTL_BTN4_GPIO_Port, CTL_BTN4_Pin) == GPIO_PIN_SET) DigitalValues |= BUTTON_4;
			if (HAL_GPIO_ReadPin(CTL_BTN5_GPIO_Port, CTL_BTN5_Pin) == GPIO_PIN_SET) DigitalValues |= BUTTON_5;
			if (HAL_GPIO_ReadPin(CTL_BTN6_GPIO_Port, CTL_BTN6_Pin) == GPIO_PIN_SET) DigitalValues |= BUTTON_6;
			if ((DigitalValues & ~BUTTON_0) == 0) //middle button only if no direction is pressed
				if (HAL_GPIO_ReadPin(CTL_BTN7_GPIO_Port, CTL_BTN7_Pin) == GPIO_PIN_SET) DigitalValues |= BUTTON_7;
#endif //IS_CONTROLLER
		}
#if IS_CONTROLLER
		if (ticks - lastButtonRefresh >= buttonRefreshTimeout)
		{
			//update button status every 250ms.
			buttonRetransmit++;
			lastButtonRefresh = ticks;
		}
#endif //IS_CONTROLLER

		if (DigitalCache != DigitalValues)
		{
			//if any digital value has changes
			DigitalCache = DigitalValues;
			//hasTriggerData = true;
			buttonRetransmit = 1
#if IS_CONTROLLER
				+ 4
#endif //IS_CONTROLLER
				;
			lastButtonRefresh = ticks;
		}

		ProcessSensors();

#if IS_HMD
		//process only COMMAND packets from USB
		if (((pFromUSBPacket->Header.Type & 0xF0) == COMMAND_DATA) && (pFromUSBPacket->Command.Command != CMD_NONE))
		{
			if (CheckPacketCrc(pFromUSBPacket))
			{
				uint8_t channelIndex = pFromUSBPacket->Header.Type & 0x0F;
				if (channelIndex == THIS_DEVICE)
				{
					ProcessOwnPacket(pFromUSBPacket);
				}
				else if (channelIndex < MAX_SOURCE)
				{
					//forward from USB to RF
					CommChannel *pChannel = &Channels[channelIndex];
					//only send if active more than 1 sec
					if ((pChannel->lastOutSequence != pFromUSBPacket->Header.Sequence) && ((ticks - pChannel->lastReceive) <= 1000))
					{
						//got packet from usb, forward to trackeddevice
						memcpy(&pChannel->lastCommand, pFromUSBPacket, sizeof(USBPacket));
						//send same packet a few times
						pChannel->remainingTransmits = 5;
						pChannel->nextTransmit = ticks;
						pChannel->lastOutSequence = pFromUSBPacket->Header.Sequence;
						ChannelStateFlags |= 1 << channelIndex;
					}
					memset(pFromUSBPacket, 0, sizeof(USBPacket)); //clear incoming
				}
			}
		}
#endif //IS_HMD

		rfStatus = RF_Status(&hspi2);
		readyToReceive = (rfStatus & RF_RX_DR_IRQ_CLEAR) == RF_RX_DR_IRQ_CLEAR ? 1 : 0;

		if (readyToReceive)
		{
			rfStatus = RF_FifoStatus(&hspi2);
			readyToReceive = (rfStatus & RF_RX_FIFO_EMPTY_Bit) == 0x00 ? 1 : 0;
			rcvCounter = 0;
			while ((rcvCounter < 3) && readyToReceive) //max 3 packets
			//if (readyToReceive) //one rf packet at a time
			{
				rcvCounter++;
				//receive command
				//has fifo, receive
				readyToReceive = RF_ReceivePayload(&hspi2, (uint8_t*)&FromRFPacket, sizeof(USBPacket)) == 0 ? 1 : 0; //if not empty
				if (CheckPacketCrc(&FromRFPacket))
				{
					if (((FromRFPacket.Header.Type & 0x0F)) == THIS_DEVICE)
					{
						ProcessOwnPacket(&FromRFPacket);
					}
#if IS_HMD
					else
					{
						//forward from RF to USB
						while (HAL_GetTick() - LastUsbTransmit <= extraDelay) {};
						ForwardPacket(&FromRFPacket);
					}
#endif //IS_HMD
				}
			}
		}

#if IS_HMD
		BroadcastRFPackets();
#endif //IS_HMD

		if (!ProcessMask)
		{
			if (buttonRetransmit)
				ReadyMask |= READY_BUT;
			if (feedRawMode)
				ReadyMask |= READY_RAW;
			if (SensorCalibRequest != 0xFF)
				ReadyMask |= READY_CAL;
			if (KnobState)
				ReadyMask |= READY_IPD;
			if (ReadyMask)
			{
				ProcessMask = ReadyMask;
				ReadyMask = 0;
			}
		}
		ticks = HAL_GetTick();
		if (ProcessMask && (ticks >= nextSend))
		{
#if IS_CONTROLLER
			rfStatus = RF_FifoStatus(&hspi2);
			readyToSend = (rfStatus & RF_TX_FIFO_FULL_Bit) == 0x00 ? 1 : 0;
#endif //IS_CONTROLLER
#if IS_HMD
			while (HAL_GetTick() - LastUsbTransmit <= extraDelay) {};
			readyToSend = 1;
#endif //IS_HMD
		}

		if (readyToSend)
		{
#if IS_CONTROLLER
			RF_TransmitMode(&hspi2, RF_InitStruct.RF_TX_Adress); //switch to tx mode
#endif //IS_CONTROLLER
			//HAL_MicroDelay(10);
			blinkDelay = 100;

			sndCounter++;

			if (ProcessMask & READY_CAL)
			{
				FromDevicePacket.Header.Type = THIS_DEVICE | COMMAND_DATA;
				FromDevicePacket.Header.Sequence++;
				FromDevicePacket.Command.Command = CMD_CALIBRATE;
				if (SensorCalibRequest == SENSOR_ACCEL)
					FromDevicePacket.Command.Data.Calibration = eepromData.Accel;
				else if (SensorCalibRequest == SENSOR_GYRO)
					FromDevicePacket.Command.Data.Calibration = eepromData.Gyro;
				else if (SensorCalibRequest == SENSOR_MAG)
					FromDevicePacket.Command.Data.Calibration = eepromData.Mag;
				FromDevicePacket.Command.Data.Calibration.Command = CALIB_GET;
				FromDevicePacket.Command.Data.Calibration.Sensor = SensorCalibRequest;
				SensorCalibRequest = 0xFF;
				SetPacketCrc(&FromDevicePacket);
				ForwardPacket(&FromDevicePacket);
				ProcessMask &= ~READY_CAL;
			}
			else if (ProcessMask & READY_RAW)
			{
				FromDevicePacket.Header.Type = THIS_DEVICE | COMMAND_DATA;
				FromDevicePacket.Header.Sequence++;
				FromDevicePacket.Command.Command = CMD_RAW_DATA;
				FromDevicePacket.Command.Data.Raw.State = feedRawMode;
				for (int idx = 0; idx < 3; idx++)
				{
					switch (feedRawMode)
					{
					case RawMode_Off:
						break;
					case RawMode_Raw:
					{
						//raw sensor values
						FromDevicePacket.Command.Data.Raw.Accel[idx] = tSensorData.Accel.Raw[idx];
						FromDevicePacket.Command.Data.Raw.Gyro[idx] = tSensorData.Gyro.Raw[idx];
						FromDevicePacket.Command.Data.Raw.Mag[idx] = tSensorData.Mag.Raw[idx];
						break;
					}
					case RawMode_Filtered:
					{
						//filtered sensor data
						FromDevicePacket.Command.Data.Raw.Accel[idx] = tSensorData.Accel.Filtered[idx];
						FromDevicePacket.Command.Data.Raw.Gyro[idx] = tSensorData.Gyro.Filtered[idx];
						FromDevicePacket.Command.Data.Raw.Mag[idx] = tSensorData.Mag.Filtered[idx];
						break;
					}
					case RawMode_Compensated:
					{
						//compensated sensor data
						FromDevicePacket.Command.Data.Raw.Accel[idx] = tSensorData.Accel.Compensated[idx];
						FromDevicePacket.Command.Data.Raw.Gyro[idx] = tSensorData.Gyro.Compensated[idx];
						FromDevicePacket.Command.Data.Raw.Mag[idx] = tSensorData.Mag.Compensated[idx];
						break;
					}
					case RawMode_DRVectors:
					{
						//deadreckoning vectors
						FromDevicePacket.Command.Data.Raw.Accel[idx] = (int16_t)(GravityVector[idx] / aRes);
						FromDevicePacket.Command.Data.Raw.Gyro[idx] = (int16_t)(CompAccelVector[idx] / aRes); //in m/s2
						FromDevicePacket.Command.Data.Raw.Mag[idx] = VelocityVector[idx] * 1000; //in mm/s
						break;
					}
					}
				}
				SetPacketCrc(&FromDevicePacket);
				ForwardPacket(&FromDevicePacket);
				ProcessMask &= ~READY_RAW;
			}
			else if (ProcessMask & READY_POS)
			{
				hasPositionData = false;
				FromDevicePacket.Header.Type = THIS_DEVICE | POSITION_DATA;
				FromDevicePacket.Header.Sequence++;

				//remap
				FromDevicePacket.Position.Position[0] = positionQuat.x; //position.Position[0];
				FromDevicePacket.Position.Position[1] = positionQuat.z; //position.Position[2];
				FromDevicePacket.Position.Position[2] = -positionQuat.y; //-position.Position[1];
				SetPacketCrc(&FromDevicePacket);
				ForwardPacket(&FromDevicePacket);
				ProcessMask &= ~READY_POS;
			}
			else if (ProcessMask & READY_ROT)
			{
				//send rot data
				hasRotationData = false;
				FromDevicePacket.Header.Type = THIS_DEVICE | ROTATION_DATA;
				FromDevicePacket.Header.Sequence++;
				//remap
				FromDevicePacket.Rotation.w = orientQuat.w;
				FromDevicePacket.Rotation.x = orientQuat.x;
				FromDevicePacket.Rotation.y = orientQuat.z;
				FromDevicePacket.Rotation.z = -orientQuat.y;
				SetPacketCrc(&FromDevicePacket);
				ForwardPacket(&FromDevicePacket);
				ProcessMask &= ~READY_ROT;
			}
			else if (ProcessMask & READY_BUT)
			{
				buttonRetransmit--;
				FromDevicePacket.Header.Type = THIS_DEVICE | TRIGGER_DATA;
				FromDevicePacket.Header.Sequence++;
#if IS_HMD
				FromDevicePacket.Trigger.Analog[0].x = 0;
				FromDevicePacket.Trigger.Analog[0].y = 0;
				FromDevicePacket.Trigger.Analog[1].x = 0; //reserved
				FromDevicePacket.Trigger.Analog[1].y = 0; //reserved
#endif //IS_HMD

#if IS_CONTROLLER
				FromDevicePacket.Trigger.Analog[0].x = ((float)ADC_Cache[1]) / 100.0f; //trigger
				FromDevicePacket.Trigger.Analog[0].y = ((float)ADC_Cache[0]) / 100.0f; //Extra
				FromDevicePacket.Trigger.Analog[1].x = 0; //reserved
				FromDevicePacket.Trigger.Analog[1].y = 0; //reserved
#endif //IS_CONTROLLER

				FromDevicePacket.Trigger.Digital = DigitalCache;
				SetPacketCrc(&FromDevicePacket);
				ForwardPacket(&FromDevicePacket);
				ProcessMask &= ~READY_BUT;
			}
			else if (ProcessMask & READY_IPD)
			{
				FromDevicePacket.Header.Type = THIS_DEVICE | COMMAND_DATA;
				FromDevicePacket.Command.Command = CMD_IPD;
				FromDevicePacket.Header.Sequence++;
				FromDevicePacket.Command.Data.IPD.Direction = KnobState;
				KnobState = 0;
				SetPacketCrc(&FromDevicePacket);
				ForwardPacket(&FromDevicePacket);
				ProcessMask &= ~READY_IPD;
			}

			if (!ProcessMask)
#if IS_CONTROLLER
				nextSend = ticks + (extraDelay + (rand() % 10)); //for next RF packet
			do { rfStatus = RF_FifoStatus(&hspi2); } while ((rfStatus & RF_TX_FIFO_EMPTY_Bit) != RF_TX_FIFO_EMPTY_Bit); //wait for send complete
#endif //IS_CONTROLLER
#if IS_HMD
			nextSend = ticks + extraDelay; //for next USB packet
#endif //IS_HMD

			readyToSend = 0;
#if IS_CONTROLLER
			HAL_MicroDelay(10);
			RF_ReceiveMode(&hspi2, RF_InitStruct.RF_RX_Adress_Pipe0); //back to rx mode
#endif //IS_CONTROLLER
		}
	}
  /* USER CODE END WHILE */

}

/** System Clock Configuration
*/
void SystemClock_Config(void)
{

  RCC_OscInitTypeDef RCC_OscInitStruct;
  RCC_ClkInitTypeDef RCC_ClkInitStruct;
  RCC_PeriphCLKInitTypeDef PeriphClkInit;

    /**Initializes the CPU, AHB and APB busses clocks
    */
  RCC_OscInitStruct.OscillatorType = RCC_OSCILLATORTYPE_HSE;
  RCC_OscInitStruct.HSEState = RCC_HSE_ON;
  RCC_OscInitStruct.HSEPredivValue = RCC_HSE_PREDIV_DIV1;
  RCC_OscInitStruct.PLL.PLLState = RCC_PLL_ON;
  RCC_OscInitStruct.PLL.PLLSource = RCC_PLLSOURCE_HSE;
  RCC_OscInitStruct.PLL.PLLMUL = RCC_PLL_MUL9;
  if (HAL_RCC_OscConfig(&RCC_OscInitStruct) != HAL_OK)
  {
    Error_Handler();
  }

    /**Initializes the CPU, AHB and APB busses clocks
    */
  RCC_ClkInitStruct.ClockType = RCC_CLOCKTYPE_HCLK|RCC_CLOCKTYPE_SYSCLK
                              |RCC_CLOCKTYPE_PCLK1|RCC_CLOCKTYPE_PCLK2;
  RCC_ClkInitStruct.SYSCLKSource = RCC_SYSCLKSOURCE_PLLCLK;
  RCC_ClkInitStruct.AHBCLKDivider = RCC_SYSCLK_DIV1;
  RCC_ClkInitStruct.APB1CLKDivider = RCC_HCLK_DIV2;
  RCC_ClkInitStruct.APB2CLKDivider = RCC_HCLK_DIV1;

  if (HAL_RCC_ClockConfig(&RCC_ClkInitStruct, FLASH_LATENCY_2) != HAL_OK)
  {
    Error_Handler();
  }

  PeriphClkInit.PeriphClockSelection = RCC_PERIPHCLK_ADC|RCC_PERIPHCLK_USB;
  PeriphClkInit.AdcClockSelection = RCC_ADCPCLK2_DIV6;
  PeriphClkInit.UsbClockSelection = RCC_USBCLKSOURCE_PLL_DIV1_5;
  if (HAL_RCCEx_PeriphCLKConfig(&PeriphClkInit) != HAL_OK)
  {
    Error_Handler();
  }

    /**Configure the Systick interrupt time
    */
  HAL_SYSTICK_Config(HAL_RCC_GetHCLKFreq()/1000);

    /**Configure the Systick
    */
  HAL_SYSTICK_CLKSourceConfig(SYSTICK_CLKSOURCE_HCLK);

  /* SysTick_IRQn interrupt configuration */
  HAL_NVIC_SetPriority(SysTick_IRQn, 0, 0);
}

/* ADC1 init function */
static void MX_ADC1_Init(void)
{

  ADC_ChannelConfTypeDef sConfig;

    /**Common config
    */
  hadc1.Instance = ADC1;
  hadc1.Init.ScanConvMode = ADC_SCAN_ENABLE;
  hadc1.Init.ContinuousConvMode = ENABLE;
  hadc1.Init.DiscontinuousConvMode = DISABLE;
  hadc1.Init.ExternalTrigConv = ADC_EXTERNALTRIGCONV_T1_CC1;
  hadc1.Init.DataAlign = ADC_DATAALIGN_RIGHT;
  hadc1.Init.NbrOfConversion = 2;
  if (HAL_ADC_Init(&hadc1) != HAL_OK)
  {
    Error_Handler();
  }

    /**Configure Regular Channel
    */
  sConfig.Channel = ADC_CHANNEL_0;
  sConfig.Rank = 1;
  sConfig.SamplingTime = ADC_SAMPLETIME_71CYCLES_5;
  if (HAL_ADC_ConfigChannel(&hadc1, &sConfig) != HAL_OK)
  {
    Error_Handler();
  }

    /**Configure Regular Channel
    */
  sConfig.Channel = ADC_CHANNEL_1;
  sConfig.Rank = 2;
  if (HAL_ADC_ConfigChannel(&hadc1, &sConfig) != HAL_OK)
  {
    Error_Handler();
  }

}

/* I2C2 init function */
static void MX_I2C2_Init(void)
{

  hi2c2.Instance = I2C2;
  hi2c2.Init.ClockSpeed = 400000;
  hi2c2.Init.DutyCycle = I2C_DUTYCYCLE_2;
  hi2c2.Init.OwnAddress1 = 0;
  hi2c2.Init.AddressingMode = I2C_ADDRESSINGMODE_7BIT;
  hi2c2.Init.DualAddressMode = I2C_DUALADDRESS_DISABLE;
  hi2c2.Init.OwnAddress2 = 0;
  hi2c2.Init.GeneralCallMode = I2C_GENERALCALL_DISABLE;
  hi2c2.Init.NoStretchMode = I2C_NOSTRETCH_DISABLE;
  if (HAL_I2C_Init(&hi2c2) != HAL_OK)
  {
    Error_Handler();
  }

}

/* SPI2 init function */
static void MX_SPI2_Init(void)
{

  hspi2.Instance = SPI2;
  hspi2.Init.Mode = SPI_MODE_MASTER;
  hspi2.Init.Direction = SPI_DIRECTION_2LINES;
  hspi2.Init.DataSize = SPI_DATASIZE_8BIT;
  hspi2.Init.CLKPolarity = SPI_POLARITY_LOW;
  hspi2.Init.CLKPhase = SPI_PHASE_1EDGE;
  hspi2.Init.NSS = SPI_NSS_SOFT;
  hspi2.Init.BaudRatePrescaler = SPI_BAUDRATEPRESCALER_4;
  hspi2.Init.FirstBit = SPI_FIRSTBIT_MSB;
  hspi2.Init.TIMode = SPI_TIMODE_DISABLE;
  hspi2.Init.CRCCalculation = SPI_CRCCALCULATION_DISABLE;
  hspi2.Init.CRCPolynomial = 10;
  if (HAL_SPI_Init(&hspi2) != HAL_OK)
  {
    Error_Handler();
  }

}

static void MX_DMA_Init(void)
{
  /* DMA controller clock enable */
  __HAL_RCC_DMA1_CLK_ENABLE();

  /* DMA interrupt init */
  /* DMA1_Channel1_IRQn interrupt configuration */
  HAL_NVIC_SetPriority(DMA1_Channel1_IRQn, 0, 0);
  HAL_NVIC_EnableIRQ(DMA1_Channel1_IRQn);

}

/** Configure pins as
        * Analog
        * Input
        * Output
        * EVENT_OUT
        * EXTI
        * Free pins are configured automatically as Analog (this feature is enabled through
        * the Code Generation settings)
*/
static void MX_GPIO_Init(void)
{

  GPIO_InitTypeDef GPIO_InitStruct;

  /* GPIO Ports Clock Enable */
  __HAL_RCC_GPIOC_CLK_ENABLE();
  __HAL_RCC_GPIOD_CLK_ENABLE();
  __HAL_RCC_GPIOA_CLK_ENABLE();
  __HAL_RCC_GPIOB_CLK_ENABLE();

  /*Configure GPIO pin Output Level */
  HAL_GPIO_WritePin(LED_GPIO_Port, LED_Pin, GPIO_PIN_RESET);

  /*Configure GPIO pin Output Level */
  HAL_GPIO_WritePin(GPIOB, SPI_RF_NSS_Pin|SPI_RF_CE_Pin, GPIO_PIN_SET);

  /*Configure GPIO pin Output Level */
  HAL_GPIO_WritePin(GPIOB, CTL_VIBRATE1_Pin|CTL_VIBRATE0_Pin, GPIO_PIN_RESET);

  /*Configure GPIO pin : LED_Pin */
  GPIO_InitStruct.Pin = LED_Pin;
  GPIO_InitStruct.Mode = GPIO_MODE_OUTPUT_OD;
  GPIO_InitStruct.Speed = GPIO_SPEED_FREQ_LOW;
  HAL_GPIO_Init(LED_GPIO_Port, &GPIO_InitStruct);

  /*Configure GPIO pins : IR_SENS4_Pin IR_SENS5_Pin */
  GPIO_InitStruct.Pin = IR_SENS4_Pin|IR_SENS5_Pin;
  GPIO_InitStruct.Mode = GPIO_MODE_IT_RISING_FALLING;
  GPIO_InitStruct.Pull = GPIO_PULLUP;
  HAL_GPIO_Init(GPIOC, &GPIO_InitStruct);

  /*Configure GPIO pins : CTL_BTN7_Pin CTL_BTN0_Pin CTL_BTN1_Pin CTL_BTN2_Pin
                           CTL_BTN3_Pin CTL_BTN4_Pin */
  GPIO_InitStruct.Pin = CTL_BTN7_Pin|CTL_BTN0_Pin|CTL_BTN1_Pin|CTL_BTN2_Pin
                          |CTL_BTN3_Pin|CTL_BTN4_Pin;
  GPIO_InitStruct.Mode = GPIO_MODE_IT_RISING_FALLING;
  GPIO_InitStruct.Pull = GPIO_PULLDOWN;
  HAL_GPIO_Init(GPIOA, &GPIO_InitStruct);

  /*Configure GPIO pins : CTL_BTN5_Pin CTL_BTN6_Pin */
  GPIO_InitStruct.Pin = CTL_BTN5_Pin|CTL_BTN6_Pin;
  GPIO_InitStruct.Mode = GPIO_MODE_IT_RISING_FALLING;
  GPIO_InitStruct.Pull = GPIO_PULLDOWN;
  HAL_GPIO_Init(GPIOB, &GPIO_InitStruct);

  /*Configure GPIO pins : PB2 PB3 PB4 PB5 */
  GPIO_InitStruct.Pin = GPIO_PIN_2|GPIO_PIN_3|GPIO_PIN_4|GPIO_PIN_5;
  GPIO_InitStruct.Mode = GPIO_MODE_ANALOG;
  HAL_GPIO_Init(GPIOB, &GPIO_InitStruct);

  /*Configure GPIO pin : IR_SYNC_Pin */
  GPIO_InitStruct.Pin = IR_SYNC_Pin;
  GPIO_InitStruct.Mode = GPIO_MODE_IT_RISING_FALLING;
  GPIO_InitStruct.Pull = GPIO_PULLUP;
  HAL_GPIO_Init(IR_SYNC_GPIO_Port, &GPIO_InitStruct);

  /*Configure GPIO pins : IR_SENS0_Pin IR_SENS1_Pin IR_SENS2_Pin */
  GPIO_InitStruct.Pin = IR_SENS0_Pin|IR_SENS1_Pin|IR_SENS2_Pin;
  GPIO_InitStruct.Mode = GPIO_MODE_IT_RISING_FALLING;
  GPIO_InitStruct.Pull = GPIO_PULLUP;
  HAL_GPIO_Init(GPIOA, &GPIO_InitStruct);

  /*Configure GPIO pins : PA13 PA14 PA15 */
  GPIO_InitStruct.Pin = GPIO_PIN_13|GPIO_PIN_14|GPIO_PIN_15;
  GPIO_InitStruct.Mode = GPIO_MODE_ANALOG;
  HAL_GPIO_Init(GPIOA, &GPIO_InitStruct);

  /*Configure GPIO pins : SPI_RF_NSS_Pin SPI_RF_CE_Pin CTL_VIBRATE1_Pin CTL_VIBRATE0_Pin */
  GPIO_InitStruct.Pin = SPI_RF_NSS_Pin|SPI_RF_CE_Pin|CTL_VIBRATE1_Pin|CTL_VIBRATE0_Pin;
  GPIO_InitStruct.Mode = GPIO_MODE_OUTPUT_PP;
  GPIO_InitStruct.Speed = GPIO_SPEED_FREQ_LOW;
  HAL_GPIO_Init(GPIOB, &GPIO_InitStruct);

  /* EXTI interrupt init*/
  HAL_NVIC_SetPriority(EXTI0_IRQn, 0, 0);
  HAL_NVIC_EnableIRQ(EXTI0_IRQn);

  HAL_NVIC_SetPriority(EXTI1_IRQn, 0, 0);
  HAL_NVIC_EnableIRQ(EXTI1_IRQn);

  HAL_NVIC_SetPriority(EXTI2_IRQn, 0, 0);
  HAL_NVIC_EnableIRQ(EXTI2_IRQn);

  HAL_NVIC_SetPriority(EXTI3_IRQn, 0, 0);
  HAL_NVIC_EnableIRQ(EXTI3_IRQn);

  HAL_NVIC_SetPriority(EXTI4_IRQn, 0, 0);
  HAL_NVIC_EnableIRQ(EXTI4_IRQn);

  HAL_NVIC_SetPriority(EXTI9_5_IRQn, 0, 0);
  HAL_NVIC_EnableIRQ(EXTI9_5_IRQn);

  HAL_NVIC_SetPriority(EXTI15_10_IRQn, 0, 0);
  HAL_NVIC_EnableIRQ(EXTI15_10_IRQn);

}

/* USER CODE BEGIN 4 */
#ifdef __cplusplus
extern "C"
#endif
/* USER CODE END 4 */

void Error_Handler(void)
{
  /* USER CODE BEGIN Error_Handler */
	  /* User can add his own implementation to report the HAL error return state */
	BlinkRease2(50, false);
	LedOff();
	NVIC_SystemReset();
  /* USER CODE END Error_Handler */
}

/************************ (C) COPYRIGHT STMicroelectronics *****END OF FILE****/
